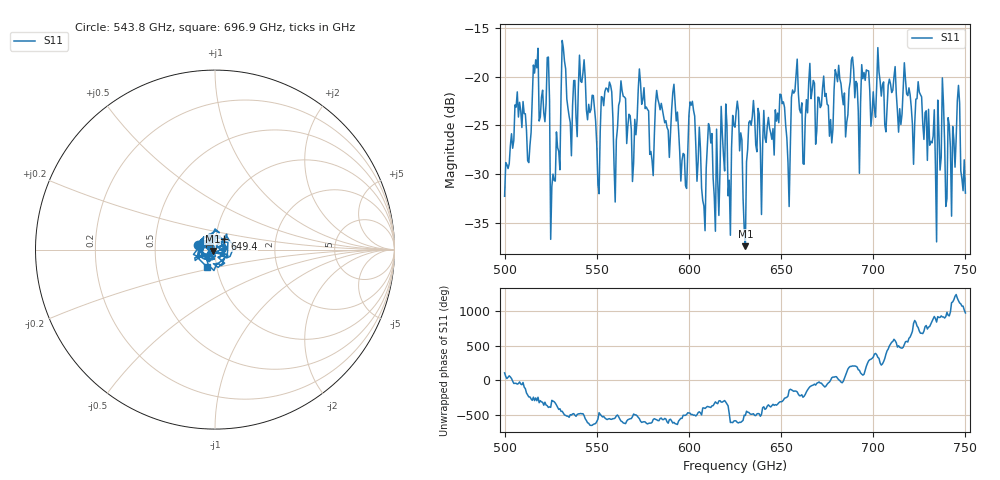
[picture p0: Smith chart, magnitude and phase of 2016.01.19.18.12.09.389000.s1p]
!Created with skrf (http://scikit-rf.org).
# GHz S RI R 50.0
!freq ReS11 ImS11
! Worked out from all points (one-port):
!   401 points, 500 GHz to 750 GHz, reference 50 ohm
!   lowest |S11| = -37.4 dB at 630.6 GHz (marker M1), VSWR 1.03, Z = 48.9 - j0.687 ohm
!   |S11| at or under -10 dB: start of sweep to end of sweep
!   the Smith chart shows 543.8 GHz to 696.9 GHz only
!   S11 on the Smith chart (normalised r, x): 543.8 GHz: 0.83, +0.05; 649.4 GHz: 1.10, +0.14; 696.9 GHz: 0.90, -0.18
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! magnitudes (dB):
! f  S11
! 500 GHz  -32.3
! 506.9 GHz  -21.6
! 513.1 GHz  -28.8
! 516.9 GHz  -18.3
! 523.1 GHz  -18.1
! 526.2 GHz  -30.0
! 531.2 GHz  -16.3
! 543.8 GHz  -20.2
! 550.6 GHz  -31.0
! 562.5 GHz  -22.5
! 593.8 GHz  -23.6
! 597.5 GHz  -28.0
! 601.9 GHz  -22.5
! 608.1 GHz  -33.2
! 611.2 GHz  -25.3
! 615 GHz  -25.4
! 625 GHz  -25.2
! 630.6 GHz  -37.4
! 633.8 GHz  -25.0
! 649.4 GHz  -21.8
! 653.8 GHz  -28.8
! 656.2 GHz  -21.4
! 687.5 GHz  -20.5
! 696.9 GHz  -19.4
! 718.8 GHz  -22.0
! 735 GHz  -22.4
! 746.2 GHz  -20.9
! 750 GHz  -31.9
